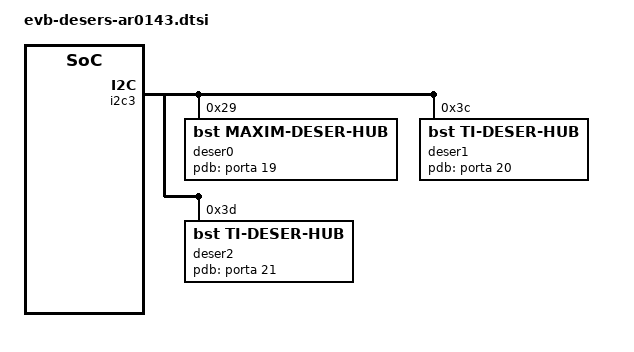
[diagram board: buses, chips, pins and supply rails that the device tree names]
/*
   default deser config for a1000b-evb
   deser0@i2c2 0x30:    max96712
   deser1@i2c2 0x32:    ti960
   deser2@i2c2 0x34:    ti960
*/

/*
    maxim deser required field state
    type        : deser_type
    reg         : original device i2c address
    i2c-port    : choose i2c-port 0/1 for SOCA/SOCB
    csi2-port   : choose csi2-port 0/1 for SOCA/SOCB
    regs        : serdes mapping i2c address
    sensor-regs : sensor mapping i2c address
    data-type   : data-type for Firmware 0x1e(YUV422 8bit)
    serial-type : serial-type
    trigger-mode: close (0),open-internal-mode(1), open-external-mode(2)
    trigger-fps : set FPS for internal trigger mode
    trigger-tx-gpio : transfer trigger signal to Camera's gpio
    trigger-rx-gpio : receive trigger signal form Deser's gpio
    maxim,dt    : YUV422-8bit 0x1E, RAW10 0x2B, RAW16 0x2E.
*/
&i2c3 {
    #address-cells = <1>;
    #size-cells = <0>;

    deser0: max96712@29{
        /*bst,max96712-deser*/
        compatible = "bst,maxim-deser-hub";
        type = "max96722";
        ctl-mode = "evb";
        reg = <0x29>;
        i2c-port = <0>;
        csi2-port = <0>;
        lane-speed = <1600>;
        data-type = <0x1e>;                 /*YUV8:*/
        maxim,dt = <0x1e>;                 
        maxim,hsync-invert = <0>;
        maxim,vsync-invert = <0>;
        maxim,link-mode = "GMSL1";
        trigger-mode = <1>;                 /*0:default,1:internal,2:external*/
        trigger-fps = <25>;
        trigger-tx-gpio = <1>;
        trigger-rx-gpio = <0>;
        pdb-gpio = <&porta 19 0>;
    };

    deser1: ti960@3c {
        compatible = "bst,ti-deser-hub";
        type = "ti960";
        ctl-mode = "evb";
        reg = <0x3c>;
        i2c-port = <0>;
        csi2-port = <0>;
        lane-speed = <1600>;
        trigger-mode = <1>;                 /*0:default,1:internal,2:external*/
        trigger-fps = <22>;                 /*ar0231*/
        trigger-tx-gpio = <0>;
        trigger-rx-gpio = <1>;
        pdb-gpio = <&porta 20 0>;
    };

    deser2: ti960@3d {
        compatible = "bst,ti-deser-hub";
        type = "ti960";
        ctl-mode = "evb";
        reg = <0x3d>;
        i2c-port = <0>;
        csi2-port = <0>;
        lane-speed = <1600>;
        trigger-mode = <1>;                 /*0:default,1:internal,2:external*/
        trigger-fps = <30>;                 /*ov10640*/
        trigger-tx-gpio = <0>;
        trigger-rx-gpio = <1>;
        pdb-gpio = <&porta 21 0>;
    };
};

#include "../common/a1000b-deser.dtsi"
